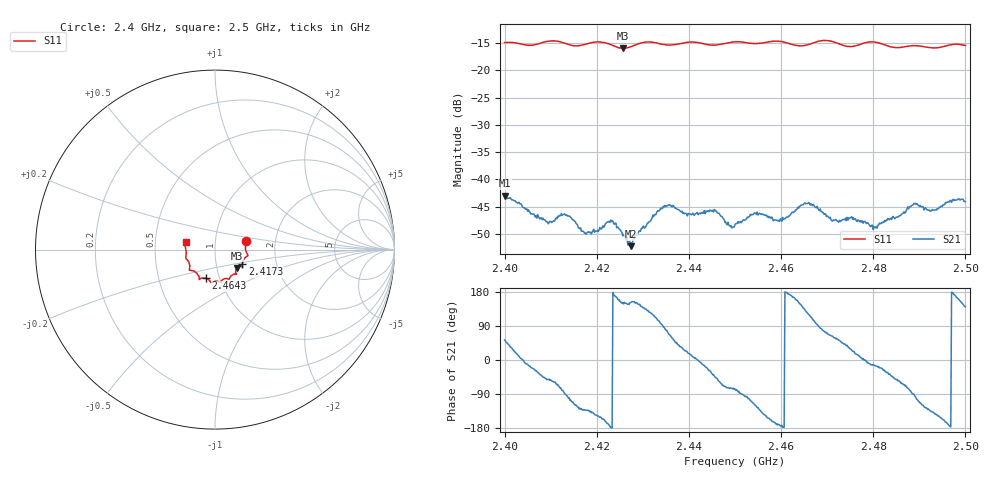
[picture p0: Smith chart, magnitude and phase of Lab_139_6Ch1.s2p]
# Hz S RI R 50
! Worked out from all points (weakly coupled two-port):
!   601 points, 2.4 GHz to 2.5 GHz, reference 50 ohm
!   highest |S21| = -42.99 dB at 2.4 GHz (marker M1); lowest = -52.2 dB at 2.4273 GHz (marker M2)
!   lowest |S11| = -15.9 dB at 2.4257 GHz (marker M3), VSWR 1.38, Z = 62.4 - j13.1 ohm
!   |S11| at or under -10 dB: start of sweep to end of sweep
!   S12 and S22 are empty: the file has one direction only
!   S11 on the Smith chart (normalised r, x): 2.4 GHz: 1.41, +0.14; 2.4173 GHz: 1.34, -0.23; 2.4643 GHz: 0.86, -0.28; 2.5 GHz: 0.72, +0.06
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2.4e9  0.1733 0.0494  0.00428 0.00565  0 0  0 0
2.409167e9  0.1822 -0.0294  0.00253 -0.00323  0 0  0 0
2.4135e9  0.1697 -0.0429  -0.000337 -0.00472  0 0  0 0
2.416667e9  0.1528 -0.075  -0.00209 -0.00261  0 0  0 0
2.417333e9  0.1521 -0.0823  -0.00217 -0.00238  0 0  0 0
2.423e9  0.1451 -0.0934  -0.00424 -0.000135  0 0  0 0
2.425667e9  0.1226 -0.1022  -0.00267 0.00145  0 0  0 0
2.427333e9  0.1157 -0.1174  -0.00215 0.00116  0 0  0 0
2.433333e9  0.1128 -0.1366  -0.00128 0.00502  0 0  0 0
2.435667e9  0.0968 -0.1411  0.00219 0.00545  0 0  0 0
2.4455e9  0.0511 -0.163  0.00394 -0.00353  0 0  0 0
2.45e9  0.0298 -0.1808  0.000925 -0.00376  0 0  0 0
2.454333e9  0.00746 -0.1763  -0.00238 -0.00432  0 0  0 0
2.459667e9  -0.0232 -0.1838  -0.00407 -0.000648  0 0  0 0
2.464333e9  -0.0503 -0.1603  -0.00481 0.00331  0 0  0 0
2.466667e9  -0.0762 -0.1596  -0.00209 0.00544  0 0  0 0
2.471333e9  -0.087 -0.1614  0.00209 0.0037  0 0  0 0
2.4805e9  -0.143 -0.112  0.00348 -0.000961  0 0  0 0
2.483333e9  -0.141 -0.0894  0.00341 -0.00265  0 0  0 0
2.489e9  -0.1625 -0.0459  -0.000489 -0.00597  0 0  0 0
2.492833e9  -0.1601 -0.0157  -0.0039 -0.0036  0 0  0 0
2.5e9  -0.1639 0.0421  -0.0048 0.00397  0 0  0 0
